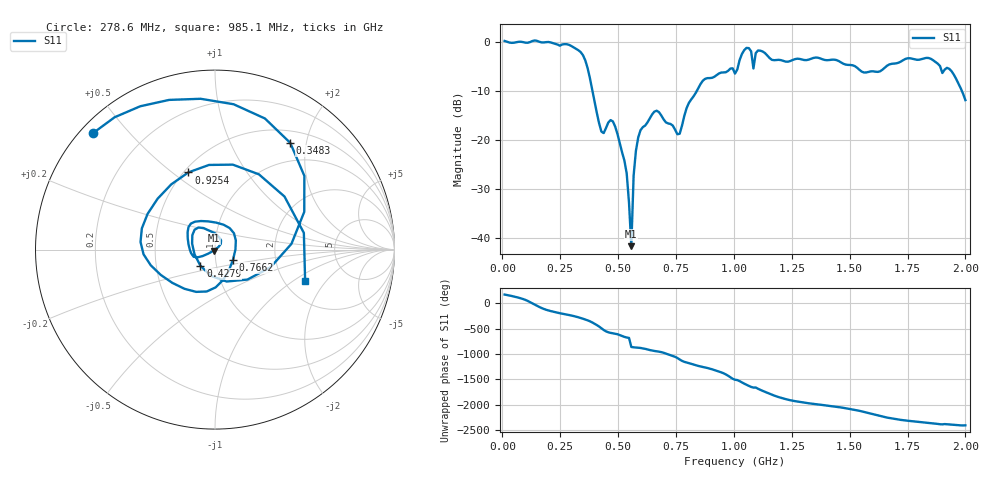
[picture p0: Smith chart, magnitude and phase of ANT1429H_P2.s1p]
!Created with skrf (http://scikit-rf.org).
# Hz S RI R 50.0
!freq ReS11 ImS11
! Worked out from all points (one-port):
!   201 points, 10 MHz to 2 GHz, reference 50 ohm
!   lowest |S11| = -41.7 dB at 557.2 MHz (marker M1), VSWR 1.02, Z = 49.4 - j0.502 ohm
!   |S11| at or under -10 dB: 389.1 MHz to 840.6 MHz (451.5 MHz wide, 73.4 % of centre); 1.984 GHz to end of sweep
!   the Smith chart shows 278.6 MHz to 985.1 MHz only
!   S11 on the Smith chart (normalised r, x): 278.6 MHz: 0.04, +0.40; 348.3 MHz: 0.68, +1.72; 427.9 MHz: 0.84, -0.15; 766.2 MHz: 1.21, -0.14; 925.4 MHz: 0.53, +0.57; 985.1 MHz: 2.59, -1.24
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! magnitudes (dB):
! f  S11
! 10 MHz  0.1
! 258.8 MHz  -0.6
! 278.6 MHz  -0.5
! 348.3 MHz  -2.8
! 427.9 MHz  -18.3
! 477.6 MHz  -16.3
! 507.5 MHz  -20.7
! 537.4 MHz  -26.9
! 557.2 MHz  -41.7
! 567.2 MHz  -27.3
! 597 MHz  -18.0
! 666.7 MHz  -14.1
! 756.2 MHz  -18.9
! 766.2 MHz  -18.8
! 855.8 MHz  -8.7
! 925.4 MHz  -6.8
! 985.1 MHz  -5.5
! 1.005 GHz  -6.5
! 1.055 GHz  -1.3
! 1.075 GHz  -2.0
! 1.085 GHz  -5.5
! 1.105 GHz  -1.8
! 1.254 GHz  -3.8
! 1.502 GHz  -4.8
! 1.622 GHz  -6.2
! 1.751 GHz  -3.4
! 1.93 GHz  -5.5
! 2 GHz  -11.9
